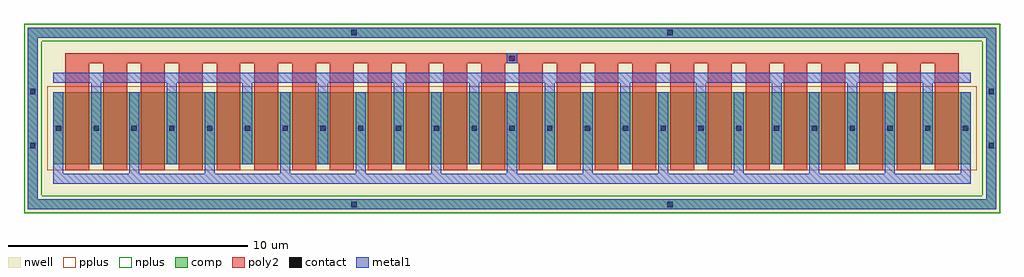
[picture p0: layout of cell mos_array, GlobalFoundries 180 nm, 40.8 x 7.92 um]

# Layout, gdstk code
import gdstk
lib = gdstk.Library(unit=1e-6, precision=5e-10)
def R(c, l, rs):  # rectangles x0, y0, x1, y1
    for r in rs: c.add(gdstk.rectangle(r[:2], r[2:], *l))
def A(c, l, x, y, w, h, nx, ny, dx, dy):  # array of equal rectangles
    R(c, l, [(x+i*dx, y+j*dy, x+i*dx+w, y+j*dy+h) for i in range(nx) for j in range(ny)])
def P(c, l, *ps):  # polygons
    for p in ps: c.add(gdstk.Polygon(p, *l))
nwell = (21, 0)
comp = (22, 0)
poly2 = (30, 0)
pplus = (31, 0)
nplus = (32, 0)
contact = (33, 0)
metal1 = (34, 0)

mos_array = lib.new_cell('mos_array')
R(mos_array, nwell, [(-1.22,-1.22,39.56,6.68), (-0.15,-0.15,38.49,5.61)])
R(mos_array, comp, [(0,0.82,38.34,3.82)])
P(mos_array, comp, [(-1.07,-1.07),(-1.07,6.11),(-0.65,6.11),(-0.65,-0.65),(38.99,-0.65),(38.99,6.11),(-1.07,6.11),(-1.07,6.53),(39.41,6.53),(39.41,-1.07)])
A(mos_array, poly2, 0.5, 0.57, 1, 4.47, 24, 1, 1.58, 0)
R(mos_array, poly2, [(0.5,5.04,37.84,5.46)])
R(mos_array, pplus, [(-0.25,0.57,38.59,4.07)])
P(mos_array, nplus, [(-1.23,-1.23),(-1.23,5.95),(-0.49,5.95),(-0.49,-0.49),(38.83,-0.49),(38.83,5.95),(-1.23,5.95),(-1.23,6.69),(39.57,6.69),(39.57,-1.23)])
A(mos_array, contact, 0.1, 2.21, 0.22, 0.22, 25, 1, 1.58, 0)
R(mos_array, contact, [(12.455,-0.97,12.675,-0.75), (25.665,-0.97,25.885,-0.75), (-0.97,1.495,-0.75,1.715), (39.09,1.495,39.31,1.715), (-0.97,3.745,-0.75,3.965), (39.09,3.745,39.31,3.965), (19.06,5.14,19.28,5.36), (12.455,6.21,12.675,6.43), (25.665,6.21,25.885,6.43)])
A(mos_array, metal1, 0, 0.42, 0.42, 0.4, 13, 1, 3.16, 0)
A(mos_array, metal1, 0, 0.82, 0.42, 3, 25, 1, 1.58, 0)
A(mos_array, metal1, 1.58, 3.82, 0.42, 0.4, 12, 1, 3.16, 0)
R(mos_array, metal1, [(0,0,38.34,0.42), (0,4.22,38.34,4.64), (18.96,5.04,19.38,5.46)])
P(mos_array, metal1, [(-1.07,-1.07),(-1.07,6.11),(-0.65,6.11),(-0.65,-0.65),(38.99,-0.65),(38.99,6.11),(-1.07,6.11),(-1.07,6.53),(39.41,6.53),(39.41,-1.07)])

lib.write_gds('mos_array.gds')
